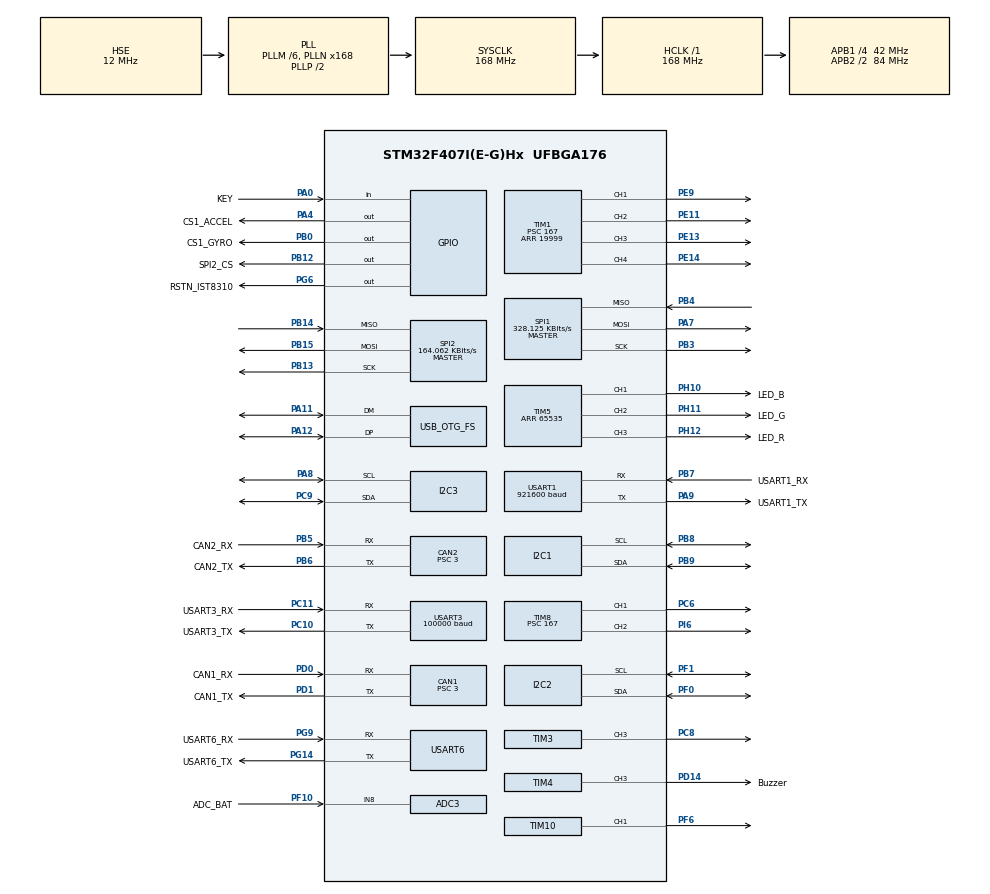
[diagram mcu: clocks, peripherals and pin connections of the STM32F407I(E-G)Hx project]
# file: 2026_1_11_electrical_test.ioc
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ADC1.Channel-0\#ChannelRegularConversion=ADC_CHANNEL_TEMPSENSOR
ADC1.ClockPrescaler=ADC_CLOCK_SYNC_PCLK_DIV6
ADC1.NbrOfConversionFlag=1
ADC1.Rank-0\#ChannelRegularConversion=1
ADC1.SamplingTime-0\#ChannelRegularConversion=ADC_SAMPLETIME_3CYCLES
ADC1.master=1
ADC3.Channel-0\#ChannelRegularConversion=ADC_CHANNEL_8
ADC3.ClockPrescaler=ADC_CLOCK_SYNC_PCLK_DIV6
ADC3.NbrOfConversionFlag=1
ADC3.Rank-0\#ChannelRegularConversion=1
ADC3.SamplingTime-0\#ChannelRegularConversion=ADC_SAMPLETIME_3CYCLES
CAN1.ABOM=DISABLE
CAN1.BS1=CAN_BS1_10TQ
CAN1.BS2=CAN_BS2_3TQ
CAN1.CalculateBaudRate=1000000
CAN1.CalculateTimeBit=1000
CAN1.CalculateTimeQuantum=71.42857142857143
CAN1.NART=DISABLE
CAN1.Prescaler=3
CAN2.BS1=CAN_BS1_10TQ
CAN2.BS2=CAN_BS2_3TQ
CAN2.CalculateBaudRate=1000000
CAN2.CalculateTimeBit=1000
CAN2.CalculateTimeQuantum=71.42857142857143
CAN2.Prescaler=3
Dma.I2C2_TX.4.Direction=DMA_MEMORY_TO_PERIPH
Dma.I2C2_TX.4.FIFOMode=DMA_FIFOMODE_DISABLE
Dma.I2C2_TX.4.Instance=DMA1_Stream7
Dma.I2C2_TX.4.MemDataAlignment=DMA_MDATAALIGN_BYTE
Dma.I2C2_TX.4.MemInc=DMA_MINC_ENABLE
Dma.I2C2_TX.4.Mode=DMA_NORMAL
Dma.I2C2_TX.4.PeriphDataAlignment=DMA_PDATAALIGN_BYTE
Dma.I2C2_TX.4.PeriphInc=DMA_PINC_DISABLE
Dma.I2C2_TX.4.Priority=DMA_PRIORITY_HIGH
Dma.Request0=USART1_TX
Dma.Request1=USART3_RX
Dma.Request2=USART6_RX
Dma.Request3=USART6_TX
Dma.Request4=I2C2_TX
Dma.Request5=SPI1_RX
Dma.Request6=SPI1_TX
Dma.Request7=USART1_RX
Dma.SPI1_RX.5.Direction=DMA_PERIPH_TO_MEMORY
Dma.SPI1_RX.5.FIFOMode=DMA_FIFOMODE_DISABLE
Dma.SPI1_RX.5.Instance=DMA2_Stream2
Dma.SPI1_RX.5.MemDataAlignment=DMA_MDATAALIGN_BYTE
Dma.SPI1_RX.5.MemInc=DMA_MINC_ENABLE
Dma.SPI1_RX.5.Mode=DMA_NORMAL
Dma.SPI1_RX.5.PeriphDataAlignment=DMA_PDATAALIGN_BYTE
Dma.SPI1_RX.5.PeriphInc=DMA_PINC_DISABLE
Dma.SPI1_RX.5.Priority=DMA_PRIORITY_VERY_HIGH
Dma.SPI1_TX.6.Direction=DMA_MEMORY_TO_PERIPH
Dma.SPI1_TX.6.FIFOMode=DMA_FIFOMODE_DISABLE
Dma.SPI1_TX.6.Instance=DMA2_Stream3
Dma.SPI1_TX.6.MemDataAlignment=DMA_MDATAALIGN_BYTE
Dma.SPI1_TX.6.MemInc=DMA_MINC_ENABLE
Dma.SPI1_TX.6.Mode=DMA_NORMAL
Dma.SPI1_TX.6.PeriphDataAlignment=DMA_PDATAALIGN_BYTE
Dma.SPI1_TX.6.PeriphInc=DMA_PINC_DISABLE
Dma.SPI1_TX.6.Priority=DMA_PRIORITY_HIGH
Dma.USART1_RX.7.Direction=DMA_PERIPH_TO_MEMORY
Dma.USART1_RX.7.FIFOMode=DMA_FIFOMODE_DISABLE
Dma.USART1_RX.7.Instance=DMA2_Stream5
Dma.USART1_RX.7.MemDataAlignment=DMA_MDATAALIGN_BYTE
Dma.USART1_RX.7.MemInc=DMA_MINC_ENABLE
Dma.USART1_RX.7.Mode=DMA_NORMAL
Dma.USART1_RX.7.PeriphDataAlignment=DMA_PDATAALIGN_BYTE
Dma.USART1_RX.7.PeriphInc=DMA_PINC_DISABLE
Dma.USART1_RX.7.Priority=DMA_PRIORITY_MEDIUM
Dma.USART1_TX.0.Direction=DMA_MEMORY_TO_PERIPH
Dma.USART1_TX.0.FIFOMode=DMA_FIFOMODE_DISABLE
Dma.USART1_TX.0.Instance=DMA2_Stream7
Dma.USART1_TX.0.MemDataAlignment=DMA_MDATAALIGN_BYTE
Dma.USART1_TX.0.MemInc=DMA_MINC_ENABLE
Dma.USART1_TX.0.Mode=DMA_NORMAL
Dma.USART1_TX.0.PeriphDataAlignment=DMA_PDATAALIGN_BYTE
Dma.USART1_TX.0.PeriphInc=DMA_PINC_DISABLE
Dma.USART1_TX.0.Priority=DMA_PRIORITY_MEDIUM
Dma.USART3_RX.1.Direction=DMA_PERIPH_TO_MEMORY
Dma.USART3_RX.1.FIFOMode=DMA_FIFOMODE_DISABLE
Dma.USART3_RX.1.Instance=DMA1_Stream1
Dma.USART3_RX.1.MemDataAlignment=DMA_MDATAALIGN_BYTE
Dma.USART3_RX.1.MemInc=DMA_MINC_ENABLE
Dma.USART3_RX.1.Mode=DMA_NORMAL
Dma.USART3_RX.1.PeriphDataAlignment=DMA_PDATAALIGN_BYTE
Dma.USART3_RX.1.PeriphInc=DMA_PINC_DISABLE
Dma.USART3_RX.1.Priority=DMA_PRIORITY_HIGH
Dma.USART6_RX.2.Direction=DMA_PERIPH_TO_MEMORY
Dma.USART6_RX.2.FIFOMode=DMA_FIFOMODE_DISABLE
Dma.USART6_RX.2.Instance=DMA2_Stream1
Dma.USART6_RX.2.MemDataAlignment=DMA_MDATAALIGN_BYTE
Dma.USART6_RX.2.MemInc=DMA_MINC_ENABLE
Dma.USART6_RX.2.Mode=DMA_NORMAL
Dma.USART6_RX.2.PeriphDataAlignment=DMA_PDATAALIGN_BYTE
Dma.USART6_RX.2.PeriphInc=DMA_PINC_DISABLE
Dma.USART6_RX.2.Priority=DMA_PRIORITY_HIGH
Dma.USART6_TX.3.Direction=DMA_MEMORY_TO_PERIPH
Dma.USART6_TX.3.FIFOMode=DMA_FIFOMODE_DISABLE
Dma.USART6_TX.3.Instance=DMA2_Stream6
Dma.USART6_TX.3.MemDataAlignment=DMA_MDATAALIGN_BYTE
Dma.USART6_TX.3.MemInc=DMA_MINC_ENABLE
Dma.USART6_TX.3.Mode=DMA_NORMAL
Dma.USART6_TX.3.PeriphDataAlignment=DMA_PDATAALIGN_BYTE
Dma.USART6_TX.3.PeriphInc=DMA_PINC_DISABLE
Dma.USART6_TX.3.Priority=DMA_PRIORITY_MEDIUM
I2C1.I2C_Mode=I2C_Fast
I2C2.I2C_Mode=I2C_Fast
I2C3.I2C_Mode=I2C_Fast
Mcu.Family=STM32F4
Mcu.Name=STM32F407I(E-G)Hx
Mcu.Package=UFBGA176
NVIC.CAN1_RX0_IRQn=true\:6\:0\:true\:false\:true\:true\:true\:true
NVIC.CAN2_RX0_IRQn=true\:6\:0\:true\:false\:true\:true\:true\:true
NVIC.CAN2_SCE_IRQn=true\:5\:0\:true\:false\:true\:true\:true\:true
NVIC.DMA1_Stream1_IRQn=true\:5\:0\:true\:false\:true\:false\:true\:true
NVIC.DMA1_Stream7_IRQn=true\:5\:0\:true\:false\:true\:false\:true\:true
NVIC.DMA2_Stream1_IRQn=true\:5\:0\:true\:false\:true\:false\:true\:true
NVIC.DMA2_Stream2_IRQn=true\:5\:0\:true\:false\:true\:false\:true\:true
NVIC.DMA2_Stream3_IRQn=true\:5\:0\:true\:false\:true\:false\:true\:true
NVIC.DMA2_Stream5_IRQn=true\:0\:0\:false\:false\:true\:false\:true\:true
NVIC.DMA2_Stream6_IRQn=true\:5\:0\:true\:false\:true\:false\:true\:true
NVIC.DMA2_Stream7_IRQn=true\:5\:0\:true\:false\:true\:false\:true\:true
NVIC.OTG_FS_IRQn=true\:0\:0\:false\:false\:true\:true\:true\:true
NVIC.PriorityGroup=NVIC_PRIORITYGROUP_4
NVIC.TIM8_TRG_COM_TIM14_IRQn=true\:5\:0\:true\:false\:true\:true\:true\:true
NVIC.USART1_IRQn=true\:5\:0\:true\:false\:true\:true\:true\:true
NVIC.USART3_IRQn=true\:4\:0\:true\:false\:true\:true\:true\:true
NVIC.USART6_IRQn=true\:5\:0\:true\:false\:true\:true\:true\:true
PA0-WKUP.GPIO_Label=KEY
PA0-WKUP.GPIO_PuPd=GPIO_PULLUP
PA0-WKUP.Signal=GPIO_Input
PA11.Mode=Device_Only
PA11.Signal=USB_OTG_FS_DM
PA12.Mode=Device_Only
PA12.Signal=USB_OTG_FS_DP
PA13.Mode=Serial_Wire
PA13.Signal=SYS_JTMS-SWDIO
PA14.Mode=Serial_Wire
PA14.Signal=SYS_JTCK-SWCLK
PA4.GPIO_Label=CS1_ACCEL
PA4.GPIO_PuPd=GPIO_PULLUP
PA4.GPIO_Speed=GPIO_SPEED_FREQ_HIGH
PA4.PinState=GPIO_PIN_SET
PA4.Signal=GPIO_Output
PA7.GPIO_PuPd=GPIO_PULLUP
PA7.Mode=Full_Duplex_Master
PA7.Signal=SPI1_MOSI
PA8.GPIO_Pu=GPIO_PULLUP
PA8.Mode=I2C
PA8.Signal=I2C3_SCL
PA9.GPIO_Label=USART1_TX
PA9.Mode=Asynchronous
PA9.Signal=USART1_TX
PB0.GPIO_Label=CS1_GYRO
PB0.GPIO_PuPd=GPIO_PULLUP
PB0.GPIO_Speed=GPIO_SPEED_FREQ_HIGH
PB0.PinState=GPIO_PIN_SET
PB0.Signal=GPIO_Output
PB12.GPIO_Label=SPI2_CS
PB12.GPIO_ModeDefaultOutputPP=GPIO_MODE_OUTPUT_PP
PB12.GPIO_PuPd=GPIO_PULLUP
PB12.GPIO_Speed=GPIO_SPEED_FREQ_MEDIUM
PB12.PinState=GPIO_PIN_SET
PB12.Signal=GPIO_Output
PB13.GPIO_PuPd=GPIO_PULLUP
PB13.Mode=Full_Duplex_Master
PB13.Signal=SPI2_SCK
PB14.GPIO_PuPd=GPIO_PULLUP
PB14.Mode=Full_Duplex_Master
PB14.Signal=SPI2_MISO
PB15.GPIO_PuPd=GPIO_PULLUP
PB15.Mode=Full_Duplex_Master
PB15.Signal=SPI2_MOSI
PB3.GPIO_PuPd=GPIO_PULLUP
PB3.Mode=Full_Duplex_Master
PB3.Signal=SPI1_SCK
PB4.GPIO_PuPd=GPIO_PULLUP
PB4.Mode=Full_Duplex_Master
PB4.Signal=SPI1_MISO
PB5.GPIO_Label=CAN2_RX
PB5.Mode=CAN_Activate
PB5.Signal=CAN2_RX
PB6.GPIO_Label=CAN2_TX
PB6.Mode=CAN_Activate
PB6.Signal=CAN2_TX
PB7.GPIO_Label=USART1_RX
PB7.Mode=Asynchronous
PB7.Signal=USART1_RX
PB8.GPIO_Pu=GPIO_PULLUP
PB8.Mode=I2C
PB8.Signal=I2C1_SCL
PB9.GPIO_Pu=GPIO_PULLUP
PB9.Mode=I2C
PB9.Signal=I2C1_SDA
PC10.GPIO_Label=USART3_TX
PC10.Mode=Asynchronous
PC10.Signal=USART3_TX
PC11.GPIO_Label=USART3_RX
PC11.Mode=Asynchronous
PC11.Signal=USART3_RX
PC6.GPIO_PuPd=GPIO_PULLUP
PC6.GPIO_Speed=GPIO_SPEED_FREQ_HIGH
PC6.Signal=S_TIM8_CH1
PC8.GPIO_PuPd=GPIO_PULLUP
PC8.GPIO_Speed=GPIO_SPEED_FREQ_HIGH
PC8.Signal=S_TIM3_CH3
PC9.GPIO_Pu=GPIO_PULLUP
PC9.Mode=I2C
PC9.Signal=I2C3_SDA
PD0.GPIO_Label=CAN1_RX
PD0.Mode=CAN_Activate
PD0.Signal=CAN1_RX
PD1.GPIO_Label=CAN1_TX
PD1.Mode=CAN_Activate
PD1.Signal=CAN1_TX
PD14.GPIO_Label=Buzzer
PD14.GPIO_PuPd=GPIO_PULLUP
PD14.GPIO_Speed=GPIO_SPEED_FREQ_VERY_HIGH
PD14.Signal=S_TIM4_CH3
PE11.GPIO_PuPd=GPIO_PULLUP
PE11.GPIO_Speed=GPIO_SPEED_FREQ_HIGH
PE11.Signal=S_TIM1_CH2
PE13.GPIO_PuPd=GPIO_PULLUP
PE13.GPIO_Speed=GPIO_SPEED_FREQ_HIGH
PE13.Signal=S_TIM1_CH3
PE14.GPIO_PuPd=GPIO_PULLUP
PE14.GPIO_Speed=GPIO_SPEED_FREQ_HIGH
PE14.Signal=S_TIM1_CH4
PE9.GPIO_PuPd=GPIO_PULLUP
PE9.GPIO_Speed=GPIO_SPEED_FREQ_HIGH
PE9.Signal=S_TIM1_CH1
PF0.GPIO_Pu=GPIO_PULLUP
PF0.Mode=I2C
PF0.Signal=I2C2_SDA
PF1.GPIO_Pu=GPIO_PULLUP
PF1.Mode=I2C
PF1.Signal=I2C2_SCL
PF10.GPIO_Label=ADC_BAT
PF10.Mode=IN8
PF10.Signal=ADC3_IN8
PF6.GPIO_PuPd=GPIO_PULLUP
PF6.GPIO_Speed=GPIO_SPEED_FREQ_HIGH
PF6.Signal=S_TIM10_CH1
PG14.GPIO_Label=USART6_TX
PG14.Mode=Asynchronous
PG14.Signal=USART6_TX
PG6.GPIO_Label=RSTN_IST8310
PG6.GPIO_PuPd=GPIO_PULLUP
PG6.GPIO_Speed=GPIO_SPEED_FREQ_MEDIUM
PG6.PinState=GPIO_PIN_SET
PG6.Signal=GPIO_Output
PG9.GPIO_Label=USART6_RX
PG9.Mode=Asynchronous
PG9.Signal=USART6_RX
PH0-OSC_IN.Mode=HSE-External-Oscillator
PH0-OSC_IN.Signal=RCC_OSC_IN
PH1-OSC_OUT.Mode=HSE-External-Oscillator
PH1-OSC_OUT.Signal=RCC_OSC_OUT
PH10.GPIO_Label=LED_B
PH10.GPIO_PuPd=GPIO_PULLUP
PH10.GPIO_Speed=GPIO_SPEED_FREQ_HIGH
PH10.Signal=S_TIM5_CH1
PH11.GPIO_Label=LED_G
PH11.GPIO_PuPd=GPIO_PULLUP
PH11.GPIO_Speed=GPIO_SPEED_FREQ_HIGH
PH11.Signal=S_TIM5_CH2
PH12.GPIO_Label=LED_R
PH12.GPIO_PuPd=GPIO_PULLUP
PH12.GPIO_Speed=GPIO_SPEED_FREQ_HIGH
PH12.Signal=S_TIM5_CH3
PI6.GPIO_PuPd=GPIO_PULLUP
PI6.GPIO_Speed=GPIO_SPEED_FREQ_HIGH
PI6.Signal=S_TIM8_CH2
ProjectManager.HeapSize=0x200
ProjectManager.StackSize=0x400
ProjectManager.TargetToolchain=MDK-ARM V5.32
RCC.48MHZClocksFreq_Value=48000000
RCC.AHBFreq_Value=168000000
RCC.APB1CLKDivider=RCC_HCLK_DIV4
RCC.APB1Freq_Value=42000000
RCC.APB1TimFreq_Value=84000000
RCC.APB2CLKDivider=RCC_HCLK_DIV2
RCC.APB2Freq_Value=84000000
RCC.APB2TimFreq_Value=168000000
RCC.CortexFreq_Value=168000000
RCC.HCLKFreq_Value=168000000
RCC.HSE_VALUE=12000000
RCC.HSI_VALUE=16000000
RCC.LSE_VALUE=32768
RCC.PLLM=6
RCC.PLLN=168
RCC.PLLQ=7
RCC.RCC_RTC_Clock_SourceVirtual=RCC_RTCCLKSOURCE_HSE_DIV30
RCC.RCC_RTC_Clock_Source_FROM_HSE=RCC_RTCCLKSOURCE_HSE_DIV30
RCC.SYSCLKFreq_VALUE=168000000
RCC.SYSCLKSource=RCC_SYSCLKSOURCE_PLLCLK
RCC.VCOOutputFreq_Value=336000000
RTC.AsynchPrediv=124
RTC.SynchPrediv=3199
SH.S_TIM10_CH1.0=TIM10_CH1,PWM Generation1 CH1
SH.S_TIM1_CH1.0=TIM1_CH1,PWM Generation1 CH1
SH.S_TIM1_CH2.0=TIM1_CH2,PWM Generation2 CH2
SH.S_TIM1_CH3.0=TIM1_CH3,PWM Generation3 CH3
SH.S_TIM1_CH4.0=TIM1_CH4,PWM Generation4 CH4
SH.S_TIM3_CH3.0=TIM3_CH3,PWM Generation3 CH3
SH.S_TIM4_CH3.0=TIM4_CH3,PWM Generation3 CH3
SH.S_TIM5_CH1.0=TIM5_CH1,PWM Generation1 CH1
SH.S_TIM5_CH2.0=TIM5_CH2,PWM Generation2 CH2
SH.S_TIM5_CH3.0=TIM5_CH3,PWM Generation3 CH3
SH.S_TIM8_CH1.0=TIM8_CH1,PWM Generation1 CH1
SH.S_TIM8_CH2.0=TIM8_CH2,PWM Generation2 CH2
SPI1.BaudRatePrescaler=SPI_BAUDRATEPRESCALER_256
SPI1.CLKPhase=SPI_PHASE_2EDGE
SPI1.CLKPolarity=SPI_POLARITY_HIGH
SPI1.CalculateBaudRate=328.125 KBits/s
SPI1.Direction=SPI_DIRECTION_2LINES
SPI1.Mode=SPI_MODE_MASTER
SPI1.VirtualType=VM_MASTER
SPI2.BaudRatePrescaler=SPI_BAUDRATEPRESCALER_256
SPI2.CLKPhase=SPI_PHASE_2EDGE
SPI2.CLKPolarity=SPI_POLARITY_HIGH
SPI2.CalculateBaudRate=164.062 KBits/s
SPI2.Direction=SPI_DIRECTION_2LINES
SPI2.Mode=SPI_MODE_MASTER
SPI2.VirtualType=VM_MASTER
STMicroelectronics.X-CUBE-ALGOBUILD.1.4.0.LibraryCcDSPOoLibraryJjDSPOoLibrary=true
TIM1.Channel-PWM\ Generation1\ CH1=TIM_CHANNEL_1
TIM1.Channel-PWM\ Generation2\ CH2=TIM_CHANNEL_2
TIM1.Channel-PWM\ Generation3\ CH3=TIM_CHANNEL_3
TIM1.Channel-PWM\ Generation4\ CH4=TIM_CHANNEL_4
TIM1.Period=19999
TIM1.Prescaler=167
TIM1.Pulse-PWM\ Generation1\ CH1=1000
TIM1.Pulse-PWM\ Generation2\ CH2=1000
TIM1.Pulse-PWM\ Generation3\ CH3=1000
TIM1.Pulse-PWM\ Generation4\ CH4=1000
TIM10.Channel=TIM_CHANNEL_1
TIM10.Period=4999
TIM14.Channel=TIM_CHANNEL_1
TIM14.Period=9999
TIM14.Prescaler=83
TIM3.Channel-PWM\ Generation3\ CH3=TIM_CHANNEL_3
TIM4.Channel-PWM\ Generation3\ CH3=TIM_CHANNEL_3
TIM4.Prescaler=0
TIM5.Channel-PWM\ Generation1\ CH1=TIM_CHANNEL_1
TIM5.Channel-PWM\ Generation2\ CH2=TIM_CHANNEL_2
TIM5.Channel-PWM\ Generation3\ CH3=TIM_CHANNEL_3
TIM5.Period=65535
TIM8.Channel-PWM\ Generation1\ CH1=TIM_CHANNEL_1
TIM8.Channel-PWM\ Generation2\ CH2=TIM_CHANNEL_2
TIM8.Period=19999
TIM8.Prescaler=167
TIM8.Pulse-PWM\ Generation1\ CH1=1000
USART1.BaudRate=921600
USART1.VirtualMode=VM_ASYNC
USART3.BaudRate=100000
USART3.Parity=PARITY_EVEN
USART3.VirtualMode=VM_ASYNC
USART6.VirtualMode=VM_ASYNC
USB_DEVICE.CLASS_NAME_FS=CDC
USB_DEVICE.VirtualMode-CDC_FS=Cdc
USB_DEVICE.VirtualModeFS=Cdc_FS
USB_OTG_FS.VirtualMode=Device_Only
VP_ADC1_TempSens_Input.Mode=IN-TempSens
VP_ADC1_Vref_Input.Mode=IN-Vrefint
VP_RTC_VS_RTC_Activate.Mode=RTC_Enabled
VP_STMicroelectronics.X-CUBE-ALGOBUILD_VS_DSPOoLibraryJjLibrary_1.4.0_1.4.0.Mode=DSPOoLibraryJjLibrary
VP_TIM10_VS_ClockSourceINT.Mode=Enable_Timer
VP_TIM14_VS_ClockSourceINT.Mode=Enable_Timer
VP_TIM14_VS_no_output1.Mode=Output Compare1 No Output
VP_TIM1_VS_ClockSourceINT.Mode=Internal
VP_TIM3_VS_ClockSourceINT.Mode=Internal
VP_TIM5_VS_ClockSourceINT.Mode=Internal
VP_TIM8_VS_ClockSourceINT.Mode=Internal
VP_USB_DEVICE_VS_USB_DEVICE_CDC_FS.Mode=CDC_FS
board=custom

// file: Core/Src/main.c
/* USER CODE BEGIN Header */
/**
  ******************************************************************************
  * @file           : main.c
  * @brief          : Main program body
  ******************************************************************************
  * @attention
  *
  * Copyright (c) 2025 STMicroelectronics.
  * All rights reserved.
  *
  * This software is licensed under terms that can be found in the LICENSE file
  * in the root directory of this software component.
  * If no LICENSE file comes with this software, it is provided AS-IS.
  *
  ******************************************************************************
  */
/* USER CODE END Header */
#include "main.h"
#include "adc.h"
#include "can.h"
#include "dma.h"
#include "i2c.h"
#include "rtc.h"
#include "spi.h"
#include "tim.h"
#include "usart.h"
#include "usb_device.h"
#include "gpio.h"

/* USER CODE BEGIN Includes */
#include "bsp_led.h"
#include "bsp_delay.h"
#include "bsp_usart.h"
#include "remote_control.h"
#include "string.h"
#include <stdio.h>
 #include "Control_Ghassis.h"
#include <math.h>
#include "arm_math.h"
#include "BMI088driver.h"
#include "state_machine.h"
#include "uart6_rmul.h"
#include "usart6_remote_control.h"
#include "WIT_Gyro.h"
#include "usbd_cdc_if.h"
#include "bsp_can.h"
#include "infantry_config.h"
#include "infantry_imu.h"
#include "infantry_indicator.h"
/* USER CODE END Includes */

/* USER CODE BEGIN PV */
state_machine_t g_state_machine;
extern float yaw_angle;
float angle[3];
extern float yaw_zero; // 用于存储初始Yaw角的全局变量
/* USER CODE END PV */

void SystemClock_Config(void);
/* USER CODE BEGIN PFP */
void uart6_data_ready_callback(void);
void ui_auto_init(void);
void ui_auto_task(void);

/* USER CODE END PFP */

int main(void)
{

  /* MCU Configuration--------------------------------------------------------*/

  /* Reset of all peripherals, Initializes the Flash interface and the Systick. */
  HAL_Init();

  /* Configure the system clock */
  SystemClock_Config();

  /* USER CODE BEGIN SysInit */
  delay_init(); /* Use the configured system clock for BMI088 microsecond delays. */

  /* USER CODE END SysInit */

  /* Initialize all configured peripherals */
  MX_GPIO_Init();
  MX_DMA_Init();
  MX_TIM5_Init();
  MX_TIM4_Init();
  MX_CAN1_Init();
  MX_CAN2_Init();
  MX_USART1_UART_Init();
  MX_USART3_UART_Init();
  MX_USART6_UART_Init();
  MX_ADC1_Init();
  MX_ADC3_Init();
  MX_RTC_Init();
  MX_TIM1_Init();
  MX_TIM3_Init();
  MX_TIM8_Init();
  MX_TIM10_Init();
  MX_I2C1_Init();
  MX_I2C2_Init();
  MX_I2C3_Init();
  MX_SPI1_Init();
  MX_SPI2_Init();
  MX_TIM14_Init();
  MX_USB_DEVICE_Init();
  /* USER CODE BEGIN 2 */
  BSP_LED_Init();                                       // 初始化LED
  Infantry_Indicator_Init();
  BSP_CAN_Init();
  chassis_init(&chassis_move);                          // 初始化底盘控制

  usart1_tx_dma_init();                                 // 初始化USART1的DMA传输，用于发送数据到上位机
  usart1_remote_control_init();                         // 初始化USART1接收遥控器数据
  // char buffer[100];                                     // 用于存储调试信息的缓冲区
  uint32_t referee_dbg_last_tick = 0;                   // 上次发送调试信息的时间戳

  state_machine_init(&g_state_machine);                 // 初始化状态机

  uart6_rmul_init(&huart6);                             // 初始化UART6接收Referee系统数据
  uart6_rmul_set_callback(uart6_data_ready_callback);   // 设置UART6数据接收完成后的回调函数
  (void)Infantry_IMU_Init();
  ui_auto_init();                                       // 初始化UI自动化测试模块，用开源自动生成的UI
  /* USER CODE END 2 */

  /* Infinite loop */
  /* USER CODE BEGIN WHILE */
  while (1)
  {
    uint32_t control_cycle_tick = HAL_GetTick();
    static uint32_t imu_retry_tick = 0u;
    static uint8_t status_sequence = 0u;

    Infantry_IMU_Poll();
    if ((Infantry_IMU_IsReady() == 0u) &&
        ((uint32_t)(HAL_GetTick() - imu_retry_tick) >= 1000u))
    {
      chassis_output_clear();
      Chassis_ResetSpeedPID();
      chassis_output_send(); /* Stop motors before blocking for IMU initialization. */
      imu_retry_tick = HAL_GetTick();
      (void)Infantry_IMU_Init();
    }

    //用于调试的代码，获取底盘电机数据和遥控器数据
    // const motor_measure_t *motor1 = get_chassis_motor_measure_point(0);
    // const motor_measure_t *motor2 = get_chassis_motor_measure_point(1);
    // const motor_measure_t *motor3 = get_chassis_motor_measure_point(2);
    // const motor_measure_t *motor4 = get_chassis_motor_measure_point(3);
    // const RC_ctrl_t *rc_data = get_remote_control_point();
    const RC_ctrl_t *rc_ctrl = get_usart1_remote_control_point();
    // shoot_data_t* shoot = uart6_get_shoot_data();
    robot_performance_t* perf = uart6_get_robot_perf();
    power_heat_data_t* power = uart6_get_power_heat();
    usart1_tx_status_t usart1_status;
    uint16_t current_hp = perf->current_HP;
    // // uart6_rmul_poll();

    // if ((HAL_GetTick() - referee_dbg_last_tick) >= 100U) {
    //   int msg_len = snprintf(buffer, sizeof(buffer),"606:%.2f 931:%.2f err:%.2f\r\n",
    //                            yaw_angle,
    //                            Get_Yaw_Angle_Data(),
    //                             yaw_zero);
    //   if (msg_len > 0) {
    //     (void)CDC_Transmit_FS((uint8_t *)buffer, (uint16_t)msg_len);// 通过USB CDC发送调试信息到PC
    //   }
    //   referee_dbg_last_tick = HAL_GetTick();
    // }

    // 根据当前HP值调整底盘速度，HP较低时增加速度提升以增强机动性实际没用上，因为没用超级电容回超功率，使用我直接改了速度上限的值
    if ((current_hp != 0u) && (current_hp <= 80u))
    {
      Chassis_Set_Low_Hp_Speed_Boost(1u);
    }
    else
    {
      Chassis_Set_Low_Hp_Speed_Boost(0u);
    }

    state_machine_update(&g_state_machine, rc_ctrl);

      // 执行状态机逻辑，根据当前状态和输入控制底盘
    state_machine_execute(&g_state_machine);
    //发送底盘数据到电机
    chassis_output_send();
    // 发送数据到云台，包括陀螺仪数据和射击系统的热量数据，供上位机显示和UI自动化测试使用
    memset(&usart1_status, 0, sizeof(usart1_status));
    usart1_status.flags = 0u;
    if (Infantry_IMU_IsReady() != 0u) usart1_status.flags |= INFANTRY_CHASSIS_FLAG_IMU_READY;
    if (state_machine_is_enabled(&g_state_machine) != 0u) usart1_status.flags |= INFANTRY_CHASSIS_FLAG_ENABLED;
    if (state_machine_small_gyro_active(&g_state_machine) != 0u) usart1_status.flags |= INFANTRY_CHASSIS_FLAG_SMALL_GYRO;
    if (usart1_remote_is_online() != 0u) usart1_status.flags |= INFANTRY_CHASSIS_FLAG_REMOTE_READY;
    usart1_status.fault = g_state_machine.fault;
    usart1_status.sequence = status_sequence++;
    usart1_status.chassis_gyro_speed_rpm = Infantry_IMU_GetGyroZRpm();
    usart1_status.shooter_17mm_heat = power->shooter_17mm_heat;
    usart1_status.shooter_17mm_heat_limit = perf->shooter_barrel_heat_limit;
    usart1_status.shooter_barrel_cooling_value = perf->shooter_barrel_cooling_value;
    usart1_status.remote_ch2 = rc_ctrl->rc.ch[2];
    usart1_status.remote_ch3 = rc_ctrl->rc.ch[3];
    usart1_status.remote_left_switch = (uint8_t)rc_ctrl->rc.s[RC_S_LEFT];
    data_to_usart1(&usart1_status);
    //UI发送
    ui_auto_task();
    Infantry_Indicator_Poll();
    /* Include work time in the period; interrupts still receive RC/CAN while idle. */
    while ((uint32_t)(HAL_GetTick() - control_cycle_tick) < INFANTRY_CONTROL_PERIOD_MS)
        __WFI();
    /* USER CODE END WHILE */
  }
}

void SystemClock_Config(void)
{
  RCC_OscInitTypeDef RCC_OscInitStruct = {0};
  RCC_ClkInitTypeDef RCC_ClkInitStruct = {0};

  /** Configure the main internal regulator output voltage
  */
  __HAL_RCC_PWR_CLK_ENABLE();
  __HAL_PWR_VOLTAGESCALING_CONFIG(PWR_REGULATOR_VOLTAGE_SCALE1);

  /** Initializes the RCC Oscillators according to the specified parameters
  * in the RCC_OscInitTypeDef structure.
  */
  RCC_OscInitStruct.OscillatorType = RCC_OSCILLATORTYPE_HSE;
  RCC_OscInitStruct.HSEState = RCC_HSE_ON;
  RCC_OscInitStruct.PLL.PLLState = RCC_PLL_ON;
  RCC_OscInitStruct.PLL.PLLSource = RCC_PLLSOURCE_HSE;
  RCC_OscInitStruct.PLL.PLLM = 6;
  RCC_OscInitStruct.PLL.PLLN = 168;
  RCC_OscInitStruct.PLL.PLLP = RCC_PLLP_DIV2;
  RCC_OscInitStruct.PLL.PLLQ = 7;
  if (HAL_RCC_OscConfig(&RCC_OscInitStruct) != HAL_OK)
  {
    Error_Handler();
  }

  /** Initializes the CPU, AHB and APB buses clocks
  */
  RCC_ClkInitStruct.ClockType = RCC_CLOCKTYPE_HCLK|RCC_CLOCKTYPE_SYSCLK
                              |RCC_CLOCKTYPE_PCLK1|RCC_CLOCKTYPE_PCLK2;
  RCC_ClkInitStruct.SYSCLKSource = RCC_SYSCLKSOURCE_PLLCLK;
  RCC_ClkInitStruct.AHBCLKDivider = RCC_SYSCLK_DIV1;
  RCC_ClkInitStruct.APB1CLKDivider = RCC_HCLK_DIV4;
  RCC_ClkInitStruct.APB2CLKDivider = RCC_HCLK_DIV2;

  if (HAL_RCC_ClockConfig(&RCC_ClkInitStruct, FLASH_LATENCY_5) != HAL_OK)
  {
    Error_Handler();
  }
}

/* USER CODE BEGIN 4 */

/* ���ݸ��»ص� */
void uart6_data_ready_callback(void)
{
    /* ������?���ݸ���??*/
    if (uart6_is_robot_hp_updated()) {
        robot_hp_t *hp = uart6_get_robot_hp();
        /* ����Ѫ���仯�������ж��Ƿ���Ҫ���� */
        if (hp->ally_3_robot_HP < 500) {
            // Ѫ�����ͣ��������˲���
        }
    }

    if (uart6_is_power_heat_updated()) {
        power_heat_data_t *ph = uart6_get_power_heat();
        robot_performance_t *perf = uart6_get_robot_perf();
        /* Use heat limit from 0x0201 and current heat from 0x0202 */
        if ((perf->shooter_barrel_heat_limit > 0U) &&
            ((float)ph->shooter_17mm_heat > ((float)perf->shooter_barrel_heat_limit * 0.8f))) {
            // Heat is high, reduce fire rate
        }
    }

    if (uart6_is_robot_pos_updated()) {
        robot_pos_t *pos = uart6_get_robot_pos();
        /* ����λ����Ϣ�������㷨 */
    }

    /* ���������� */
    custom_client_data_t *key = uart6_get_custom_data();
    if (key->key_value & KEY_W) {
        // ǰ��ָ��
    }
    if (key->key_value & KEY_SHIFT) {
        // С����ģʽ
    }
}

/* USER CODE END 4 */

void Error_Handler(void)
{
  __disable_irq();
  while (1)
  {
  }
}
